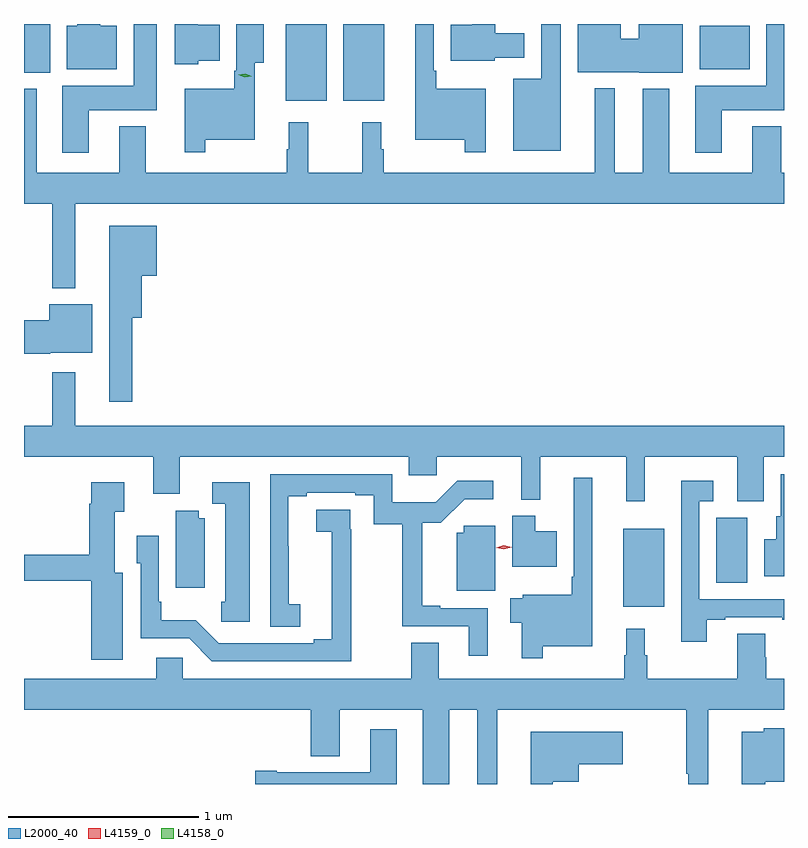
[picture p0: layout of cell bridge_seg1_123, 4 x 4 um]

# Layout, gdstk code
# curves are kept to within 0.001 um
import gdstk
lib = gdstk.Library(unit=1e-6, precision=1e-09)
def R(c, l, rs):  # rectangles x0, y0, x1, y1
    for r in rs: c.add(gdstk.rectangle(r[:2], r[2:], *l))
def P(c, l, *ps):  # polygons
    for p in ps: c.add(gdstk.Polygon(p, *l))
L2000_40 = (2000, 40)
L4158_0 = (4158, 0)
L4159_0 = (4159, 0)

bridge_seg1_123 = lib.new_cell('bridge_seg1_123')
R(bridge_seg1_123, L2000_40, [(123.539,528.299,123.754,528.709), (124.028,528.424,124.192,528.768), (121.763,530.963,121.978,531.366), (122.066,530.963,122.281,531.366), (120.385,531.11,120.523,531.366), (123.941,531.128,124.204,531.358)])
P(bridge_seg1_123, L2000_40, [(124.057,530.912),(124.385,530.912),(124.385,531.366),(124.292,531.366),(124.292,531.04),(123.917,531.04),(123.917,530.688),(124.057,530.688)],
  [(120.874,531.358),(120.787,531.358),(120.787,531.366),(120.665,531.366),(120.665,531.358),(120.611,531.358),(120.611,531.128),(120.874,531.128)],
  [(121.302,531.173),(121.414,531.173),(121.414,531.361),(121.3,531.361),(121.3,531.366),(121.178,531.366),(121.178,531.155),(121.302,531.155)],
  [(122.862,531.188),(123.019,531.188),(123.019,531.318),(122.866,531.318),(122.866,531.366),(122.744,531.366),(122.744,531.361),(122.63,531.361),(122.63,531.173),(122.862,531.173)],
  [(123.853,531.366),(123.62,531.366),(123.62,531.289),(123.526,531.289),(123.526,531.366),(123.299,531.366),(123.299,531.113),(123.624,531.113),(123.624,531.11),(123.853,531.11)],
  [(123.211,531.366),(123.107,531.366),(123.107,531.079),(122.96,531.079),(122.96,530.699),(123.211,530.699)],
  [(121.339,530.756),(121.6,530.756),(121.6,531.161),(121.648,531.161),(121.648,531.366),(121.503,531.366),(121.503,531.121),(121.491,531.121),(121.491,531.025),(121.23,531.025),(121.23,530.691),(121.339,530.691)],
  [(120.727,530.912),(121.084,530.912),(121.084,531.366),(120.962,531.366),(120.962,531.04),(120.587,531.04),(120.587,530.688),(120.727,530.688)],
  [(122.814,531.025),(122.554,531.025),(122.554,531.121),(122.541,531.121),(122.541,531.366),(122.444,531.366),(122.444,530.756),(122.706,530.756),(122.706,530.691),(122.814,530.691)],
  [(120.451,531.025),(120.385,531.025),(120.385,530.42),(120.534,530.42),(120.534,529.976),(120.655,529.976),(120.655,530.42),(124.385,530.42),(124.385,530.584),(124.37,530.584),(124.37,530.827),(124.217,530.827),(124.217,530.584),(123.781,530.584),(123.781,531.025),(123.641,531.025),(123.641,530.584),(123.493,530.584),(123.493,531.028),(123.389,531.028),(123.389,530.584),(122.278,530.584),(122.278,530.708),(122.266,530.708),(122.266,530.848),(122.164,530.848),(122.164,530.584),(121.88,530.584),(121.88,530.848),(121.778,530.848),(121.778,530.708),(121.767,530.708),(121.767,530.584),(121.027,530.584),(121.027,530.827),(120.887,530.827),(120.887,530.584),(120.451,530.584)],
  [(120.955,529.82),(121.004,529.82),(121.004,530.042),(121.084,530.042),(121.084,530.305),(120.833,530.305),(120.833,529.377),(120.955,529.377)],
  [(120.522,529.637),(120.745,529.637),(120.745,529.891),(120.518,529.891),(120.518,529.808),(120.385,529.808),(120.385,529.63),(120.522,529.63)],
  [(124.279,529.088),(124.385,529.088),(124.385,529.252),(120.655,529.252),(120.655,529.534),(120.534,529.534),(120.534,529.252),(120.385,529.252),(120.385,529.088),(121.064,529.088),(121.064,528.894),(121.204,528.894),(121.204,529.088),(122.411,529.088),(122.411,528.99),(122.558,528.99),(122.558,529.088),(123.002,529.088),(123.002,528.863),(123.101,528.863),(123.101,529.088),(123.554,529.088),(123.554,528.855),(123.653,528.855),(123.653,529.088),(124.139,529.088),(124.139,528.853),(124.279,528.853)],
  [(124.385,528.996),(124.368,528.996),(124.368,528.774),(124.343,528.774),(124.343,528.655),(124.28,528.655),(124.28,528.459),(124.385,528.459)],
  [(122.825,528.291),(122.575,528.291),(122.575,528.304),(122.48,528.304),(122.48,528.741),(122.579,528.741),(122.705,528.866),(122.854,528.866),(122.854,528.963),(122.664,528.963),(122.551,528.85),(122.322,528.85),(122.322,528.996),(121.68,528.996),(121.68,528.193),(121.84,528.193),(121.84,528.313),(121.779,528.313),(121.779,528.617),(121.777,528.617),(121.777,528.88),(121.873,528.88),(121.873,528.9),(122.129,528.9),(122.129,528.886),(122.226,528.886),(122.226,528.733),(122.377,528.733),(122.377,528.195),(122.726,528.195),(122.726,528.042),(122.825,528.042)],
  [(123.115,528.092),(123.376,528.092),(123.376,528.979),(123.279,528.979),(123.279,528.457),(123.267,528.457),(123.267,528.361),(123.009,528.361),(123.009,528.343),(122.943,528.343),(122.943,528.214),(123.005,528.214),(123.005,528.027),(123.115,528.027)],
  [(123.979,528.231),(124.075,528.231),(124.075,528.243),(124.375,528.243),(124.375,528.231),(124.385,528.231),(124.385,528.339),(123.939,528.339),(123.939,528.855),(124.012,528.855),(124.012,528.961),(123.843,528.961),(123.843,528.114),(123.979,528.114)],
  [(121.573,528.955),(121.377,528.955),(121.377,528.84),(121.445,528.84),(121.445,528.324),(121.423,528.324),(121.423,528.219),(121.573,528.219)],
  [(120.904,528.478),(120.862,528.478),(120.862,528.799),(120.913,528.799),(120.913,528.955),(120.74,528.955),(120.74,528.842),(120.728,528.842),(120.728,528.572),(120.385,528.572),(120.385,528.436),(120.74,528.436),(120.74,528.021),(120.904,528.021)],
  [(122.108,528.707),(122.102,528.707),(122.102,528.809),(121.923,528.809),(121.923,528.694),(122.005,528.694),(122.006,528.128),(121.91,528.128),(121.91,528.108),(121.41,528.108),(121.289,528.229),(121.108,528.229),(121.108,528.325),(121.095,528.325),(121.095,528.673),(120.978,528.673),(120.978,528.528),(120.999,528.528),(120.999,528.132),(121.254,528.132),(121.374,528.012),(122.108,528.012)],
  [(121.336,528.766),(121.304,528.766),(121.304,528.803),(121.184,528.803),(121.184,528.399),(121.336,528.399)],
  [(123.19,528.697),(123.076,528.697),(123.076,528.778),(122.954,528.778),(122.954,528.509),(123.19,528.509)],
  [(122.865,528.487),(122.866,528.487),(122.866,528.724),(122.7,528.724),(122.7,528.688),(122.663,528.688),(122.663,528.383),(122.865,528.383)],
  [(122.569,528.11),(122.422,528.11),(122.422,527.92),(121.221,527.92),(121.221,528.03),(121.082,528.03),(121.082,527.92),(120.385,527.92),(120.385,527.756),(121.895,527.756),(121.895,527.513),(122.047,527.513),(122.047,527.756),(122.483,527.756),(122.483,527.366),(122.623,527.366),(122.623,527.756),(122.771,527.756),(122.771,527.366),(122.875,527.366),(122.875,527.756),(123.871,527.756),(123.871,527.419),(123.881,527.419),(123.881,527.366),(123.985,527.366),(123.985,527.756),(124.385,527.756),(124.385,527.92),(124.292,527.92),(124.292,528.033),(124.287,528.033),(124.287,528.158),(124.139,528.158),(124.139,527.92),(123.664,527.92),(123.664,528.044),(123.653,528.044),(123.653,528.184),(123.554,528.184),(123.554,528.044),(123.543,528.044),(123.543,527.92),(122.569,527.92)],
  [(124.285,527.378),(124.385,527.378),(124.385,527.659),(124.278,527.659),(124.278,527.641),(124.163,527.641),(124.163,527.366),(124.285,527.366)],
  [(122.347,527.653),(122.207,527.653),(122.207,527.428),(121.714,527.428),(121.714,527.436),(121.602,527.436),(121.602,527.366),(122.347,527.366)],
  [(123.167,527.378),(123.304,527.378),(123.304,527.471),(123.535,527.471),(123.535,527.641),(123.053,527.641),(123.053,527.366),(123.167,527.366)])
P(bridge_seg1_123, L4158_0, [(121.546,531.085),(121.512,531.099),(121.512,531.099),(121.512,531.1),(121.549,531.105),(121.583,531.091),(121.583,531.091),(121.583,531.09)])
P(bridge_seg1_123, L4159_0, [(122.911,528.602),(122.87,528.61),(122.87,528.61),(122.87,528.61),(122.91,528.622),(122.951,528.613),(122.951,528.613),(122.951,528.613)])

lib.write_gds('bridge_seg1_123.gds')
